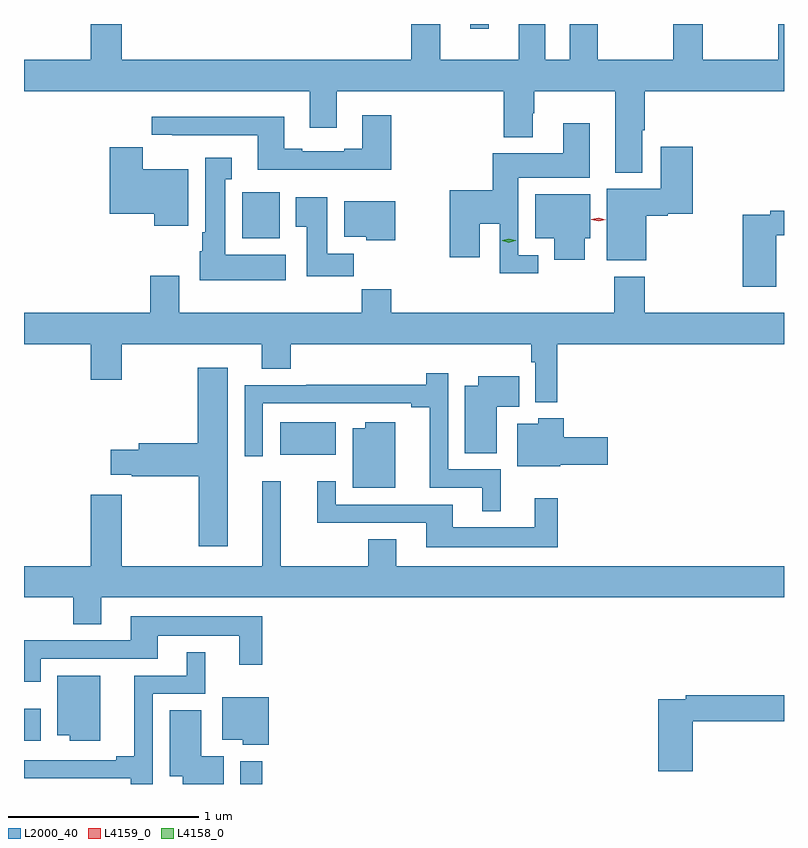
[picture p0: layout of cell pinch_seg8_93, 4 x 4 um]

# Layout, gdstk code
import gdstk
lib = gdstk.Library(unit=1e-6, precision=1e-09)
def R(c, l, rs):  # rectangles x0, y0, x1, y1
    for r in rs: c.add(gdstk.rectangle(r[:2], r[2:], *l))
def P(c, l, *ps):  # polygons
    for p in ps: c.add(gdstk.Polygon(p, *l))
L2000_40 = (2000, 40)
L4158_0 = (4158, 0)
L4159_0 = (4159, 0)

pinch_seg8_93 = lib.new_cell('pinch_seg8_93')
R(pinch_seg8_93, L2000_40, [(1076.883,1115.517,1076.999,1115.638), (1075.746,1115.744,1075.834,1115.914), (1077.095,1117.25,1077.388,1117.42), (1076.894,1118.39,1077.091,1118.632), (1078.095,1119.492,1078.192,1119.517)])
P(pinch_seg8_93, L2000_40, [(1078.349,1119.517),(1078.349,1119.328),(1077.937,1119.328),(1077.937,1119.517),(1077.785,1119.517),(1077.785,1119.328),(1076.26,1119.328),(1076.26,1119.517),(1076.096,1119.517),(1076.096,1119.328),(1075.746,1119.328),(1075.746,1119.164),(1077.251,1119.164),(1077.251,1118.97),(1077.391,1118.97),(1077.391,1119.164),(1078.271,1119.164),(1078.271,1118.921),(1078.423,1118.921),(1078.423,1119.048),(1078.431,1119.048),(1078.431,1119.164),(1078.859,1119.164),(1078.859,1118.735),(1078.999,1118.735),(1078.999,1118.959),(1079.012,1118.959),(1079.012,1119.164),(1079.746,1119.164),(1079.746,1119.517),(1079.716,1119.517),(1079.716,1119.328),(1079.318,1119.328),(1079.318,1119.517),(1079.164,1119.517),(1079.164,1119.328),(1078.767,1119.328),(1078.767,1119.517),(1078.619,1119.517),(1078.619,1119.328),(1078.489,1119.328),(1078.489,1119.517)],
  [(1077.68,1119.037),(1077.527,1119.037),(1077.527,1118.86),(1077.431,1118.86),(1077.431,1118.847),(1077.211,1118.847),(1077.211,1118.86),(1077.115,1118.86),(1077.115,1119.028),(1076.418,1119.028),(1076.418,1118.933),(1076.527,1118.933),(1076.527,1118.931),(1076.975,1118.931),(1076.975,1118.75),(1077.68,1118.75)],
  [(1078.453,1118.301),(1078.347,1118.301),(1078.347,1118.708),(1078.723,1118.708),(1078.723,1118.995),(1078.583,1118.995),(1078.583,1118.836),(1078.214,1118.836),(1078.214,1118.641),(1077.986,1118.641),(1077.986,1118.289),(1078.144,1118.289),(1078.144,1118.465),(1078.251,1118.465),(1078.251,1118.204),(1078.453,1118.204)],
  [(1079.02,1118.507),(1079.133,1118.507),(1079.133,1118.519),(1079.267,1118.519),(1079.267,1118.872),(1079.096,1118.872),(1079.096,1118.65),(1078.814,1118.65),(1078.814,1118.273),(1079.02,1118.273)],
  [(1076.611,1118.752),(1076.371,1118.752),(1076.371,1118.868),(1076.198,1118.868),(1076.198,1118.519),(1076.432,1118.519),(1076.432,1118.456),(1076.611,1118.456)],
  [(1077.124,1118.302),(1076.806,1118.302),(1076.806,1118.699),(1076.839,1118.699),(1076.839,1118.812),(1076.699,1118.812),(1076.699,1118.422),(1076.684,1118.422),(1076.684,1118.322),(1076.672,1118.322),(1076.672,1118.168),(1077.124,1118.168)],
  [(1078.696,1118.39),(1078.726,1118.39),(1078.726,1118.62),(1078.436,1118.62),(1078.436,1118.39),(1078.538,1118.39),(1078.538,1118.276),(1078.696,1118.276)],
  [(1077.482,1118.308),(1077.343,1118.308),(1077.343,1118.605),(1077.176,1118.605),(1077.176,1118.449),(1077.233,1118.449),(1077.233,1118.19),(1077.482,1118.19)],
  [(1077.7,1118.584),(1077.431,1118.584),(1077.431,1118.396),(1077.546,1118.396),(1077.546,1118.378),(1077.7,1118.378)],
  [(1079.706,1118.406),(1079.746,1118.406),(1079.746,1118.534),(1079.674,1118.534),(1079.674,1118.514),(1079.528,1118.514),(1079.528,1118.133),(1079.706,1118.133)],
  [(1076.411,1118.191),(1076.411,1117.996),(1075.746,1117.996),(1075.746,1117.832),(1076.096,1117.832),(1076.096,1117.644),(1076.26,1117.644),(1076.26,1117.832),(1076.996,1117.832),(1076.996,1117.702),(1077.149,1117.702),(1077.149,1117.832),(1078.417,1117.832),(1078.417,1117.736),(1078.437,1117.736),(1078.437,1117.526),(1078.553,1117.526),(1078.553,1117.832),(1079.746,1117.832),(1079.746,1117.996),(1079.012,1117.996),(1079.012,1118.188),(1078.852,1118.188),(1078.852,1117.996),(1077.68,1117.996),(1077.68,1118.12),(1077.523,1118.12),(1077.523,1117.996),(1076.563,1117.996),(1076.563,1118.191)],
  [(1076.818,1117.708),(1076.66,1117.708),(1076.66,1117.31),(1076.351,1117.31),(1076.351,1117.275),(1076.202,1117.275),(1076.202,1117.145),(1076.314,1117.145),(1076.314,1117.138),(1076.665,1117.138),(1076.665,1116.768),(1076.818,1116.768)],
  [(1078.255,1117.173),(1077.978,1117.173),(1077.978,1117.678),(1077.862,1117.678),(1077.862,1117.619),(1077.232,1117.619),(1077.232,1117.617),(1076.907,1117.617),(1076.907,1117.242),(1077.003,1117.242),(1077.003,1117.521),(1077.785,1117.521),(1077.785,1117.501),(1077.881,1117.501),(1077.881,1117.077),(1078.157,1117.077),(1078.157,1116.953),(1078.255,1116.953)],
  [(1078.234,1117.502),(1078.352,1117.502),(1078.352,1117.663),(1078.136,1117.663),(1078.136,1117.612),(1078.067,1117.612),(1078.067,1117.258),(1078.234,1117.258)],
  [(1078.569,1117.196),(1078.819,1117.196),(1078.819,1117.343),(1078.586,1117.343),(1078.586,1117.441),(1078.452,1117.441),(1078.452,1117.414),(1078.343,1117.414),(1078.343,1117.19),(1078.569,1117.19)],
  [(1077.7,1117.42),(1077.542,1117.42),(1077.542,1117.39),(1077.476,1117.39),(1077.476,1117.076),(1077.7,1117.076)],
  [(1078.555,1117.021),(1078.433,1117.021),(1078.433,1116.868),(1078.003,1116.868),(1078.003,1116.987),(1077.387,1116.987),(1077.387,1117.111),(1077.29,1117.111),(1077.29,1116.891),(1077.863,1116.891),(1077.863,1116.764),(1078.555,1116.764)],
  [(1076.152,1116.5),(1079.746,1116.5),(1079.746,1116.664),(1077.706,1116.664),(1077.706,1116.806),(1077.559,1116.806),(1077.559,1116.664),(1077.098,1116.664),(1077.098,1117.111),(1076.999,1117.111),(1076.999,1116.664),(1076.26,1116.664),(1076.26,1117.039),(1076.096,1117.039),(1076.096,1116.664),(1075.746,1116.664),(1075.746,1116.5),(1076.005,1116.5),(1076.005,1116.358),(1076.152,1116.358)],
  [(1075.833,1116.177),(1076.449,1116.177),(1076.449,1116.296),(1076.879,1116.296),(1076.879,1116.144),(1077.001,1116.144),(1077.001,1116.4),(1076.309,1116.4),(1076.309,1116.273),(1075.746,1116.273),(1075.746,1116.054),(1075.833,1116.054)],
  [(1076.424,1115.991),(1076.701,1115.991),(1076.701,1116.211),(1076.603,1116.211),(1076.603,1116.087),(1076.327,1116.087),(1076.327,1115.663),(1076.231,1115.663),(1076.231,1115.643),(1075.746,1115.643),(1075.746,1115.546),(1076.308,1115.546),(1076.308,1115.517),(1076.424,1115.517)],
  [(1076.146,1116.088),(1075.922,1116.088),(1075.922,1115.774),(1075.988,1115.774),(1075.988,1115.744),(1076.146,1115.744)],
  [(1079.267,1115.848),(1079.746,1115.848),(1079.746,1115.984),(1079.23,1115.984),(1079.23,1115.964),(1079.084,1115.964),(1079.084,1115.583),(1079.267,1115.583)],
  [(1077.034,1115.974),(1076.789,1115.974),(1076.789,1115.75),(1076.898,1115.75),(1076.898,1115.723),(1077.034,1115.723)],
  [(1076.798,1115.662),(1076.68,1115.662),(1076.68,1115.906),(1076.513,1115.906),(1076.513,1115.558),(1076.582,1115.558),(1076.582,1115.517),(1076.798,1115.517)])
P(pinch_seg8_93, L4158_0, [(1078.298,1118.367),(1078.262,1118.377),(1078.262,1118.377),(1078.262,1118.378),(1078.298,1118.387),(1078.334,1118.378),(1078.334,1118.377),(1078.334,1118.377)])
P(pinch_seg8_93, L4159_0, [(1078.77,1118.478),(1078.732,1118.488),(1078.732,1118.489),(1078.732,1118.489),(1078.77,1118.498),(1078.808,1118.488),(1078.809,1118.488),(1078.808,1118.488)])

lib.write_gds('pinch_seg8_93.gds')
